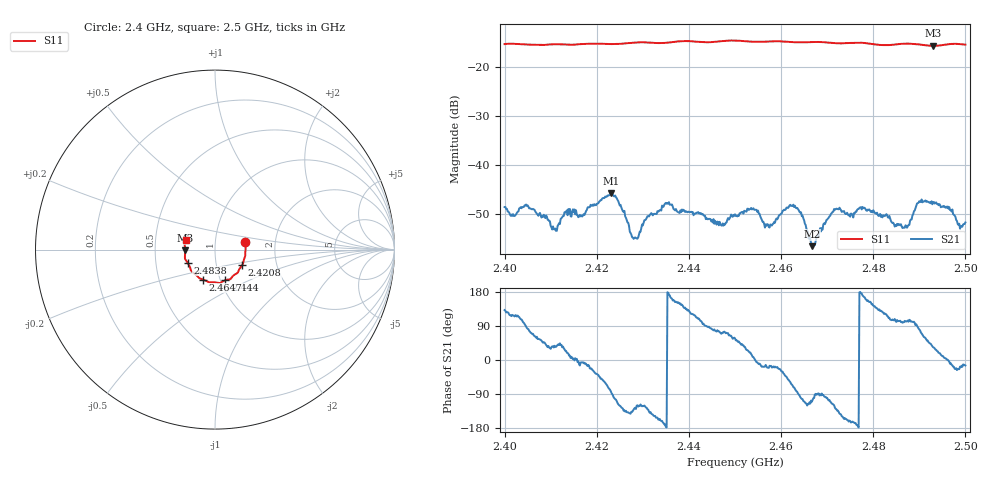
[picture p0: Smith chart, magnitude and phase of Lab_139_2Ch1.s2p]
# Hz S RI R 50
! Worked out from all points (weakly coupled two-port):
!   601 points, 2.4 GHz to 2.5 GHz, reference 50 ohm
!   highest |S21| = -45.82 dB at 2.4232 GHz (marker M1); lowest = -56.6 dB at 2.4667 GHz (marker M2)
!   lowest |S11| = -15.6 dB at 2.493 GHz (marker M3), VSWR 1.40, Z = 35.8 - j0.241 ohm
!   |S11| at or under -10 dB: start of sweep to end of sweep
!   S12 and S22 are empty: the file has one direction only
!   S11 on the Smith chart (normalised r, x): 2.4 GHz: 1.40, +0.12; 2.4208 GHz: 1.33, -0.24; 2.444 GHz: 1.06, -0.37; 2.4647 GHz: 0.83, -0.29; 2.4838 GHz: 0.73, -0.11; 2.5 GHz: 0.72, +0.08
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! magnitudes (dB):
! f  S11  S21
! 2.4 GHz  -15.3  -48.6
! 2.4048 GHz  -15.4  -48.4
! 2.4108 GHz  -15.3  -53.2
! 2.4167 GHz  -15.2  -50.3
! 2.4208 GHz  -15.2  -47.2
! 2.4232 GHz  -15.2  -45.8
! 2.4282 GHz  -15.0  -54.9
! 2.4333 GHz  -15.0  -49.5
! 2.444 GHz  -14.9  -51.1
! 2.45 GHz  -14.5  -50.1
! 2.454 GHz  -14.8  -48.9
! 2.4577 GHz  -14.7  -52.2
! 2.4622 GHz  -14.8  -48.4
! 2.4647 GHz  -14.9  -50.4
! 2.4667 GHz  -14.8  -56.6
! 2.472 GHz  -15.1  -48.9
! 2.4833 GHz  -15.5  -50.8
! 2.4838 GHz  -15.4  -51.4
! 2.487 GHz  -15.2  -52.3
! 2.49 GHz  -15.3  -47.4
! 2.493 GHz  -15.6  -47.6
! 2.5 GHz  -15.4  -51.7
